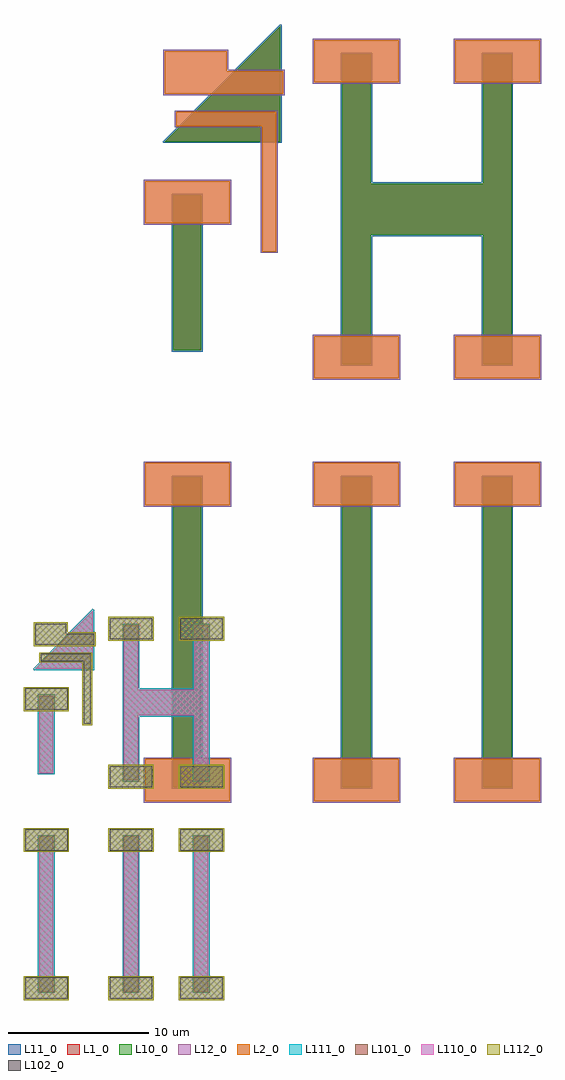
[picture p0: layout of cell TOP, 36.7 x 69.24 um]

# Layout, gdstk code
import gdstk
lib = gdstk.Library(unit=1e-6, precision=1e-09)
def R(c, l, rs):  # rectangles x0, y0, x1, y1
    for r in rs: c.add(gdstk.rectangle(r[:2], r[2:], *l))
def P(c, l, *ps):  # polygons
    for p in ps: c.add(gdstk.Polygon(p, *l))
L1_0 = (1, 0)
L2_0 = (2, 0)
L10_0 = (10, 0)
L11_0 = (11, 0)
L12_0 = (12, 0)
L101_0 = (101, 0)
L102_0 = (102, 0)
L110_0 = (110, 0)
L111_0 = (111, 0)
L112_0 = (112, 0)

top = lib.new_cell('TOP')
R(top, L1_0, [(9,9,11,20), (21,9,23,20), (31,9,33,20), (9,20,11,31), (21,20,23,31), (31,20,33,31), (21,39,23,50), (31,39,33,50), (9,40,11,51), (21.6,48.2,32.2,51.8), (21,50,23,61), (31,50,33,61)])
P(top, L1_0, [(8.4,54.8),(16.6,63),(16.6,54.8)])
R(top, L2_0, [(7,8,13,11), (19,8,25,11), (29,8,35,11), (7,29,13,32), (19,29,25,32), (29,29,35,32), (19,38,25,41), (29,38,35,41), (7,49,13,52), (19,59,25,62), (29,59,35,62)])
P(top, L2_0, [(8.4,58.2),(8.4,61.2),(12.8,61.2),(12.8,59.8),(16.8,59.8),(16.8,58.2)])
R(top, L10_0, [(9,9,11,31), (21,9,23,31), (31,9,33,31), (9,40,11,51)])
P(top, L10_0, [(21,39),(21,61),(23,61),(23,51.8),(31,51.8),(31,61),(33,61),(33,39),(31,39),(31,48.2),(23,48.2),(23,39)],
  [(8.4,54.8),(16.6,63),(16.6,54.8)])
R(top, L11_0, [(8.9,8.9,11.1,31.1), (20.9,8.9,23.1,31.1), (30.9,8.9,33.1,31.1), (8.9,39.9,11.1,51.1)])
P(top, L11_0, [(20.9,38.9),(20.9,61.1),(23.1,61.1),(23.1,51.9),(30.9,51.9),(30.9,61.1),(33.1,61.1),(33.1,38.9),(30.9,38.9),(30.9,48.1),(23.1,48.1),(23.1,38.9)],
  [(8.3,54.7),(8.258,54.8),(16.6,63.142),(16.7,63.1),(16.7,54.7)])
R(top, L12_0, [(6.9,7.9,13.1,11.1), (18.9,7.9,25.1,11.1), (28.9,7.9,35.1,11.1), (6.9,28.9,13.1,32.1), (18.9,28.9,25.1,32.1), (28.9,28.9,35.1,32.1), (18.9,37.9,25.1,41.1), (28.9,37.9,35.1,41.1), (6.9,48.9,13.1,52.1), (18.9,58.9,25.1,62.1), (28.9,58.9,35.1,62.1)])
P(top, L12_0, [(15.2,46.9),(15.2,55.8),(9.1,55.8),(9.1,57),(16.4,57),(16.4,46.9)],
  [(8.3,58.1),(8.3,61.3),(12.9,61.3),(12.9,59.9),(16.9,59.9),(16.9,58.1)])
R(top, L101_0, [(-0.5,-5.5,0.5,0), (5.5,-5.5,6.5,0), (10.5,-5.5,11.5,0), (-0.5,0,0.5,5.5), (5.5,0,6.5,5.5), (10.5,0,11.5,5.5), (5.5,9.5,6.5,15), (10.5,9.5,11.5,15), (-0.5,10,0.5,15.5), (5.8,14.1,11.1,15.9), (5.5,15,6.5,20.5), (10.5,15,11.5,20.5)])
P(top, L101_0, [(-0.8,17.4),(3.3,21.5),(3.3,17.4)])
R(top, L102_0, [(-1.5,-6,1.5,-4.5), (4.5,-6,7.5,-4.5), (9.5,-6,12.5,-4.5), (-1.5,4.5,1.5,6), (4.5,4.5,7.5,6), (9.5,4.5,12.5,6), (4.5,9,7.5,10.5), (9.5,9,12.5,10.5), (-1.5,14.5,1.5,16), (4.5,19.5,7.5,21), (9.5,19.5,12.5,21)])
P(top, L102_0, [(-0.8,19.1),(-0.8,20.6),(1.4,20.6),(1.4,19.9),(3.4,19.9),(3.4,19.1)])
R(top, L110_0, [(-0.5,-5.5,0.5,5.5), (5.5,-5.5,6.5,5.5), (10.5,-5.5,11.5,5.5), (-0.5,10,0.5,15.5)])
P(top, L110_0, [(5.5,9.5),(5.5,20.5),(6.5,20.5),(6.5,15.9),(10.5,15.9),(10.5,20.5),(11.5,20.5),(11.5,9.5),(10.5,9.5),(10.5,14.1),(6.5,14.1),(6.5,9.5)],
  [(-0.8,17.4),(3.3,21.5),(3.3,17.4)])
R(top, L111_0, [(-0.6,-5.6,0.6,5.6), (5.4,-5.6,6.6,5.6), (10.4,-5.6,11.6,5.6), (-0.6,9.9,0.6,15.6)])
P(top, L111_0, [(5.4,9.4),(5.4,20.6),(6.6,20.6),(6.6,16),(10.4,16),(10.4,20.6),(11.6,20.6),(11.6,9.4),(10.4,9.4),(10.4,14),(6.6,14),(6.6,9.4)],
  [(-0.9,17.3),(-0.942,17.4),(3.3,21.642),(3.4,21.6),(3.4,17.3)])
R(top, L112_0, [(-1.6,-6.1,1.6,-4.4), (4.4,-6.1,7.6,-4.4), (9.4,-6.1,12.6,-4.4), (-1.6,4.4,1.6,6.1), (4.4,4.4,7.6,6.1), (9.4,4.4,12.6,6.1), (4.4,8.9,7.6,10.6), (9.4,8.9,12.6,10.6), (-1.6,14.4,1.6,16.1), (4.4,19.4,7.6,21.1), (9.4,19.4,12.6,21.1)])
P(top, L112_0, [(2.55,13.4),(2.55,17.85),(-0.5,17.85),(-0.5,18.55),(3.25,18.55),(3.25,13.4)],
  [(-0.9,19),(-0.9,20.7),(1.5,20.7),(1.5,20),(3.5,20),(3.5,19)])
top.add(gdstk.FlexPath([(9.2,56.4),(15.8,56.4),(15.8,47)], 1, ends="flush", simple_path=True, layer=2, datatype=0))  # L2_0
top.add(gdstk.FlexPath([(-0.4,18.2),(2.9,18.2),(2.9,13.5)], 0.5, ends="flush", simple_path=True, layer=102, datatype=0))  # L102_0

lib.write_gds('TOP.gds')
